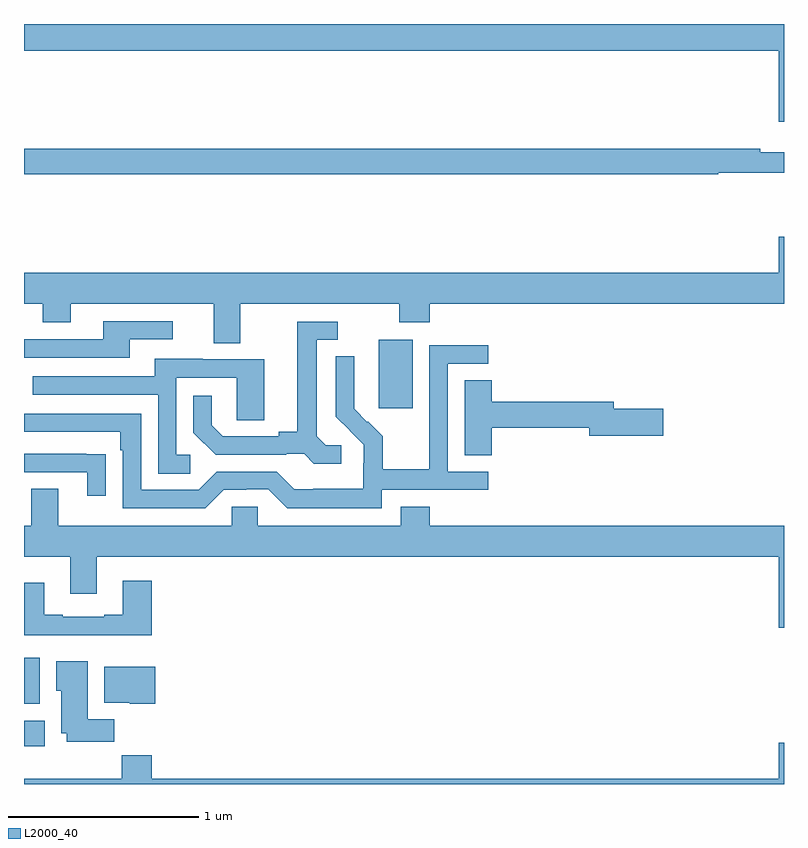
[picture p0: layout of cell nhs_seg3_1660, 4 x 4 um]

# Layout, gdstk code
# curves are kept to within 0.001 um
import gdstk
lib = gdstk.Library(unit=1e-6, precision=1e-09)
def R(c, l, rs):  # rectangles x0, y0, x1, y1
    for r in rs: c.add(gdstk.rectangle(r[:2], r[2:], *l))
def P(c, l, *ps):  # polygons
    for p in ps: c.add(gdstk.Polygon(p, *l))
L2000_40 = (2000, 40)

nhs_seg3_1660 = lib.new_cell('nhs_seg3_1660')
R(nhs_seg3_1660, L2000_40, [(197,686.6,197.11,686.734), (197,686.822,197.083,687.064), (198.866,688.377,199.045,688.738)])
P(nhs_seg3_1660, L2000_40, [(201,690.4),(197,690.4),(197,690.26),(200.972,690.26),(200.972,689.886),(201,689.886)],
  [(200.655,689.616),(201,689.616),(201,689.725),(200.876,689.725),(200.876,689.744),(197,689.744),(197,689.608),(200.655,689.608)],
  [(198.139,688.928),(198.976,688.928),(198.976,688.829),(199.136,688.829),(199.136,688.928),(201,688.928),(201,689.281),(200.972,689.281),(200.972,689.092),(197,689.092),(197,688.928),(197.098,688.928),(197.098,688.829),(197.245,688.829),(197.245,688.928),(197.999,688.928),(197.999,688.72),(198.139,688.72)],
  [(197.557,688.74),(197.782,688.74),(197.782,688.836),(197.417,688.836),(197.417,688.74),(197,688.74),(197,688.644),(197.557,688.644)],
  [(198.67,688.182),(198.588,688.182),(198.541,688.229),(198.541,688.737),(198.652,688.737),(198.652,688.833),(198.437,688.833),(198.437,688.253),(198.341,688.253),(198.341,688.23),(198.046,688.23),(197.989,688.287),(197.989,688.444),(197.892,688.444),(197.892,688.25),(198.008,688.134),(198.38,688.134),(198.38,688.137),(198.474,688.137),(198.526,688.085),(198.67,688.085)],
  [(198.882,687.948),(199.444,687.948),(199.444,688.044),(199.23,688.044),(199.23,688.611),(199.444,688.611),(199.444,688.71),(199.134,688.71),(199.134,688.28),(199.132,688.28),(199.132,688.057),(198.887,688.057),(198.887,688.231),(198.81,688.308),(198.807,688.305),(198.737,688.376),(198.738,688.652),(198.642,688.652),(198.642,688.334),(198.788,688.186),(198.788,688.089),(198.786,688.089),(198.786,687.955),(198.523,687.955),(198.523,687.951),(198.423,687.951),(198.33,688.044),(198.015,688.044),(197.919,687.948),(197.616,687.948),(197.616,688.35),(197,688.35),(197,688.254),(197.507,688.254),(197.507,688.157),(197.52,688.157),(197.52,687.852),(197.955,687.852),(198.051,687.948),(198.17,687.948),(198.17,687.951),(198.285,687.951),(198.385,687.851),(198.882,687.851)],
  [(197.875,688.134),(197.802,688.134),(197.802,688.539),(198.12,688.539),(198.12,688.315),(198.265,688.315),(198.265,688.635),(197.941,688.635),(197.941,688.639),(197.687,688.639),(197.687,688.545),(197.047,688.545),(197.047,688.449),(197.706,688.449),(197.706,688.033),(197.875,688.033)],
  [(199.463,688.276),(199.976,688.276),(199.976,688.234),(200.365,688.234),(200.365,688.376),(200.104,688.376),(200.104,688.412),(199.463,688.412),(199.463,688.526),(199.319,688.526),(199.319,688.129),(199.463,688.129)],
  [(197.429,688.136),(197.327,688.136),(197.327,688.137),(197,688.137),(197,688.041),(197.333,688.041),(197.333,687.918),(197.429,687.918)],
  [(198.983,687.859),(198.983,687.76),(198.231,687.76),(198.231,687.858),(198.093,687.858),(198.093,687.76),(197.179,687.76),(197.179,687.955),(197.039,687.955),(197.039,687.76),(197,687.76),(197,687.596),(197.243,687.596),(197.243,687.402),(197.383,687.402),(197.383,687.596),(200.972,687.596),(200.972,687.222),(201,687.222),(201,687.76),(199.136,687.76),(199.136,687.859)],
  [(197.672,687.469),(197.519,687.469),(197.519,687.292),(197.423,687.292),(197.423,687.279),(197.203,687.279),(197.203,687.292),(197.107,687.292),(197.107,687.46),(197,687.46),(197,687.182),(197.672,687.182)],
  [(197.474,686.74),(197.335,686.74),(197.335,687.046),(197.171,687.046),(197.171,686.892),(197.195,686.892),(197.195,686.666),(197.225,686.666),(197.225,686.622),(197.474,686.622)],
  [(197.692,687.016),(197.423,687.016),(197.423,686.828),(197.556,686.828),(197.556,686.822),(197.692,686.822)],
  [(201,686.617),(200.972,686.617),(200.972,686.428),(197.672,686.428),(197.672,686.552),(197.515,686.552),(197.515,686.428),(197,686.428),(197,686.4),(201,686.4)])

lib.write_gds('nhs_seg3_1660.gds')
